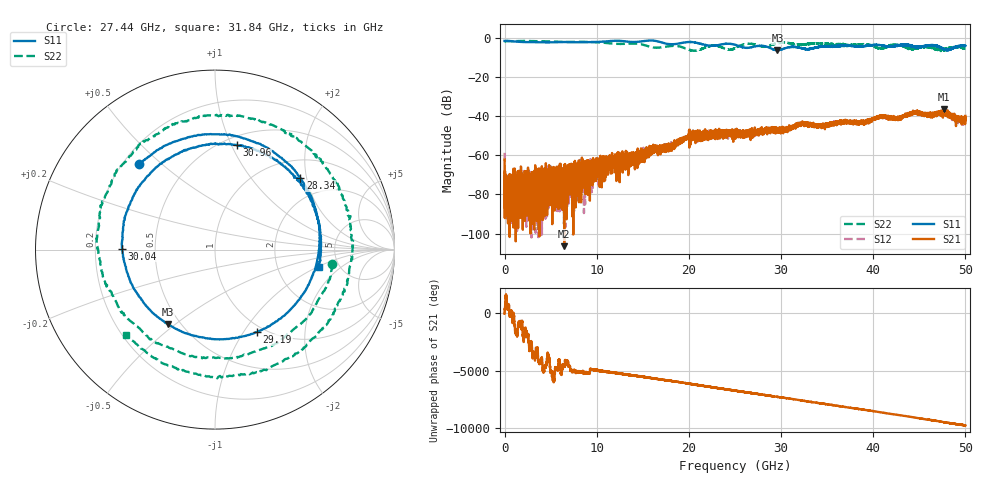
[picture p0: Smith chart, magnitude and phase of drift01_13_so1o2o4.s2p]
!Created with skrf (http://scikit-rf.org).
# Hz S RI R 50.0
!freq ReS11 ImS11 ReS21 ImS21 ReS12 ImS12 ReS22 ImS22
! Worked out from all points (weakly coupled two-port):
!   10001 points, 300 kHz to 50 GHz, reference 50 ohm
!   highest |S21| = -36.37 dB at 47.66 GHz (marker M1); lowest = -106.5 dB at 6.465 GHz (marker M2)
!   lowest |S11| = -6.2 dB at 29.61 GHz (marker M3), VSWR 2.93, Z = 21.5 - j23.5 ohm
!   |S11| at or under -10 dB: nowhere
!   |S22| runs from -6.5 to -1.4 dB; largest |S21 - S12| = 0.0039
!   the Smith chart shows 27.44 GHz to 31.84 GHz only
!   S11 on the Smith chart (normalised r, x): 27.44 GHz: 0.26, +0.42; 28.34 GHz: 1.41, +1.84; 29.19 GHz: 0.92, -1.15; 30.04 GHz: 0.32, +0.00; 30.96 GHz: 0.58, +1.05; 31.84 GHz: 3.49, -1.03
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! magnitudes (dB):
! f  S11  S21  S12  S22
! 300 kHz  -1.3  -62.1  -58.7  -2.1
! 255.3 MHz  -1.4  -75.5  -80.7  -1.4
! 800.3 MHz  -1.5  -85.0  -76.3  -1.5
! 6.465 GHz  -1.9  -106.5  -73.1  -1.9
! 8.335 GHz  -2.0  -67.8  -78.8  -1.8
! 16.67 GHz  -1.6  -56.9  -57.0  -4.8
! 18.62 GHz  -2.9  -53.7  -53.7  -3.9
! 20.23 GHz  -1.9  -50.0  -50.8  -6.1
! 22.6 GHz  -3.9  -47.9  -49.3  -3.8
! 25 GHz  -3.3  -46.9  -48.9  -5.1
! 27.44 GHz  -3.9  -47.1  -47.8  -3.6
! 28.34 GHz  -4.1  -46.2  -46.2  -4.2
! 29.19 GHz  -5.8  -47.4  -46.6  -3.1
! 29.61 GHz  -6.2  -46.5  -47.7  -2.5
! 30.04 GHz  -5.7  -47.3  -47.3  -2.2
! 30.96 GHz  -4.5  -46.0  -46.6  -2.5
! 31.84 GHz  -4.7  -44.0  -44.0  -3.3
! 33.34 GHz  -5.2  -45.2  -44.0  -2.7
! 41.67 GHz  -4.4  -40.4  -40.9  -4.4
! 46.42 GHz  -3.7  -38.1  -39.4  -4.6
! 47.66 GHz  -5.5  -36.4  -38.0  -6.2
! 50 GHz  -3.9  -39.7  -40.5  -5.4
